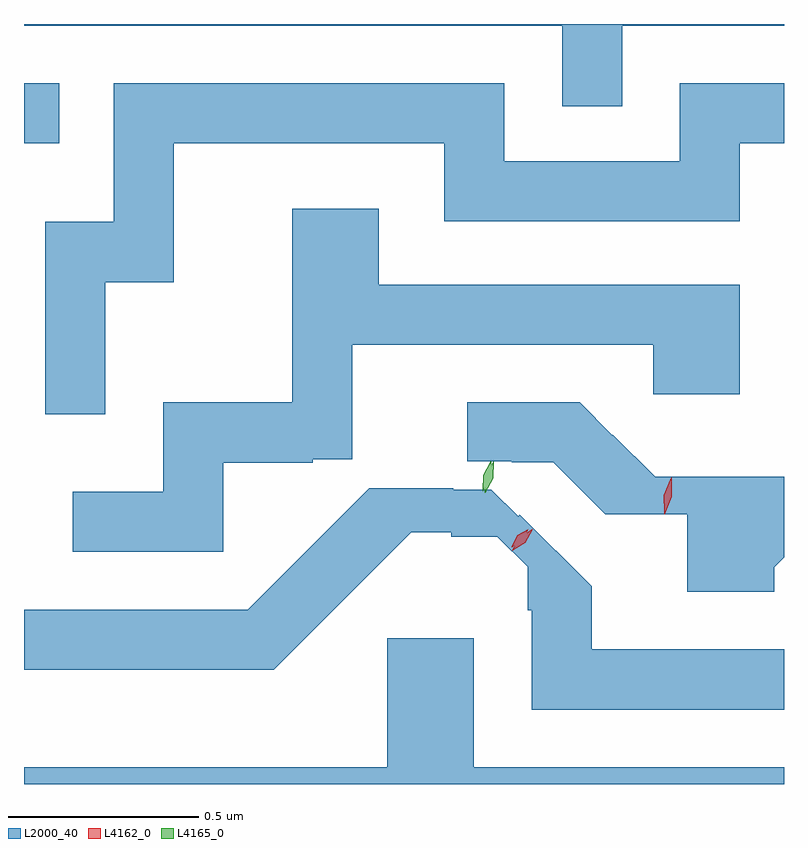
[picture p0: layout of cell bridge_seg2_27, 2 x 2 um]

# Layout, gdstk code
import gdstk
lib = gdstk.Library(unit=1e-6, precision=1e-09)
def R(c, l, rs):  # rectangles x0, y0, x1, y1
    for r in rs: c.add(gdstk.rectangle(r[:2], r[2:], *l))
def P(c, l, *ps):  # polygons
    for p in ps: c.add(gdstk.Polygon(p, *l))
L2000_40 = (2000, 40)
L4162_0 = (4162, 0)
L4165_0 = (4165, 0)

bridge_seg2_27 = lib.new_cell('bridge_seg2_27')
R(bridge_seg2_27, L2000_40, [(1663.035,1014.706,1663.128,1014.864)])
P(bridge_seg2_27, L2000_40, [(1664.609,1015.016),(1665.035,1015.016),(1665.035,1015.02),(1663.035,1015.02),(1663.035,1015.016),(1664.451,1015.016),(1664.451,1014.803),(1664.609,1014.803)],
  [(1663.249,1014.341),(1663.429,1014.341),(1663.429,1014.706),(1664.141,1014.706),(1664.141,1014.501),(1664.919,1014.501),(1664.919,1014.706),(1665.035,1014.706),(1665.035,1014.864),(1664.761,1014.864),(1664.761,1014.659),(1664.299,1014.659),(1664.299,1014.864),(1663.271,1014.864),(1663.271,1014.499),(1663.091,1014.499),(1663.091,1013.993),(1663.249,1013.993)],
  [(1663.559,1013.866),(1663.795,1013.866),(1663.795,1013.875),(1663.899,1013.875),(1663.899,1014.176),(1664.691,1014.176),(1664.691,1014.046),(1664.919,1014.046),(1664.919,1014.334),(1663.969,1014.334),(1663.969,1014.534),(1663.741,1014.534),(1663.741,1014.024),(1663.401,1014.024),(1663.401,1013.789),(1663.163,1013.789),(1663.163,1013.631),(1663.559,1013.631)],
  [(1665.009,1013.591),(1665.035,1013.617),(1665.035,1013.828),(1664.696,1013.828),(1664.584,1013.939),(1664.583,1013.938),(1664.497,1014.024),(1664.202,1014.024),(1664.202,1013.87),(1664.318,1013.87),(1664.318,1013.867),(1664.428,1013.867),(1664.565,1013.73),(1664.781,1013.73),(1664.781,1013.526),(1665.009,1013.526)],
  [(1665.035,1013.374),(1664.529,1013.374),(1664.529,1013.54),(1664.34,1013.729),(1664.336,1013.724),(1664.265,1013.795),(1664.165,1013.795),(1664.165,1013.798),(1663.943,1013.798),(1663.624,1013.479),(1663.035,1013.479),(1663.035,1013.321),(1663.692,1013.321),(1664.054,1013.683),(1664.159,1013.683),(1664.159,1013.671),(1664.281,1013.671),(1664.36,1013.592),(1664.36,1013.477),(1664.371,1013.477),(1664.371,1013.216),(1665.035,1013.216)],
  [(1665.035,1013.064),(1664.219,1013.064),(1664.219,1013.404),(1663.991,1013.404),(1663.991,1013.064),(1663.035,1013.064),(1663.035,1013.02),(1665.035,1013.02)])
P(bridge_seg2_27, L4162_0, [(1664.72,1013.735),(1664.72,1013.736),(1664.718,1013.78),(1664.735,1013.821),(1664.736,1013.822),(1664.736,1013.821),(1664.738,1013.777),(1664.721,1013.736)],
  [(1664.319,1013.643),(1664.319,1013.644),(1664.333,1013.674),(1664.362,1013.691),(1664.362,1013.691),(1664.362,1013.69),(1664.348,1013.661),(1664.32,1013.643)],
  [(1664.72,1013.73),(1664.72,1013.73),(1664.72,1013.78),(1664.738,1013.826),(1664.739,1013.827),(1664.739,1013.826),(1664.74,1013.776),(1664.721,1013.73)],
  [(1664.32,1013.634),(1664.32,1013.635),(1664.34,1013.669),(1664.373,1013.69),(1664.374,1013.69),(1664.374,1013.69),(1664.354,1013.655),(1664.32,1013.634)])
P(bridge_seg2_27, L4165_0, [(1664.248,1013.786),(1664.248,1013.787),(1664.25,1013.831),(1664.271,1013.869),(1664.271,1013.87),(1664.271,1013.869),(1664.27,1013.825),(1664.249,1013.786)],
  [(1664.242,1013.791),(1664.242,1013.792),(1664.243,1013.833),(1664.263,1013.869),(1664.263,1013.869),(1664.264,1013.869),(1664.262,1013.827),(1664.242,1013.791)])

lib.write_gds('bridge_seg2_27.gds')
